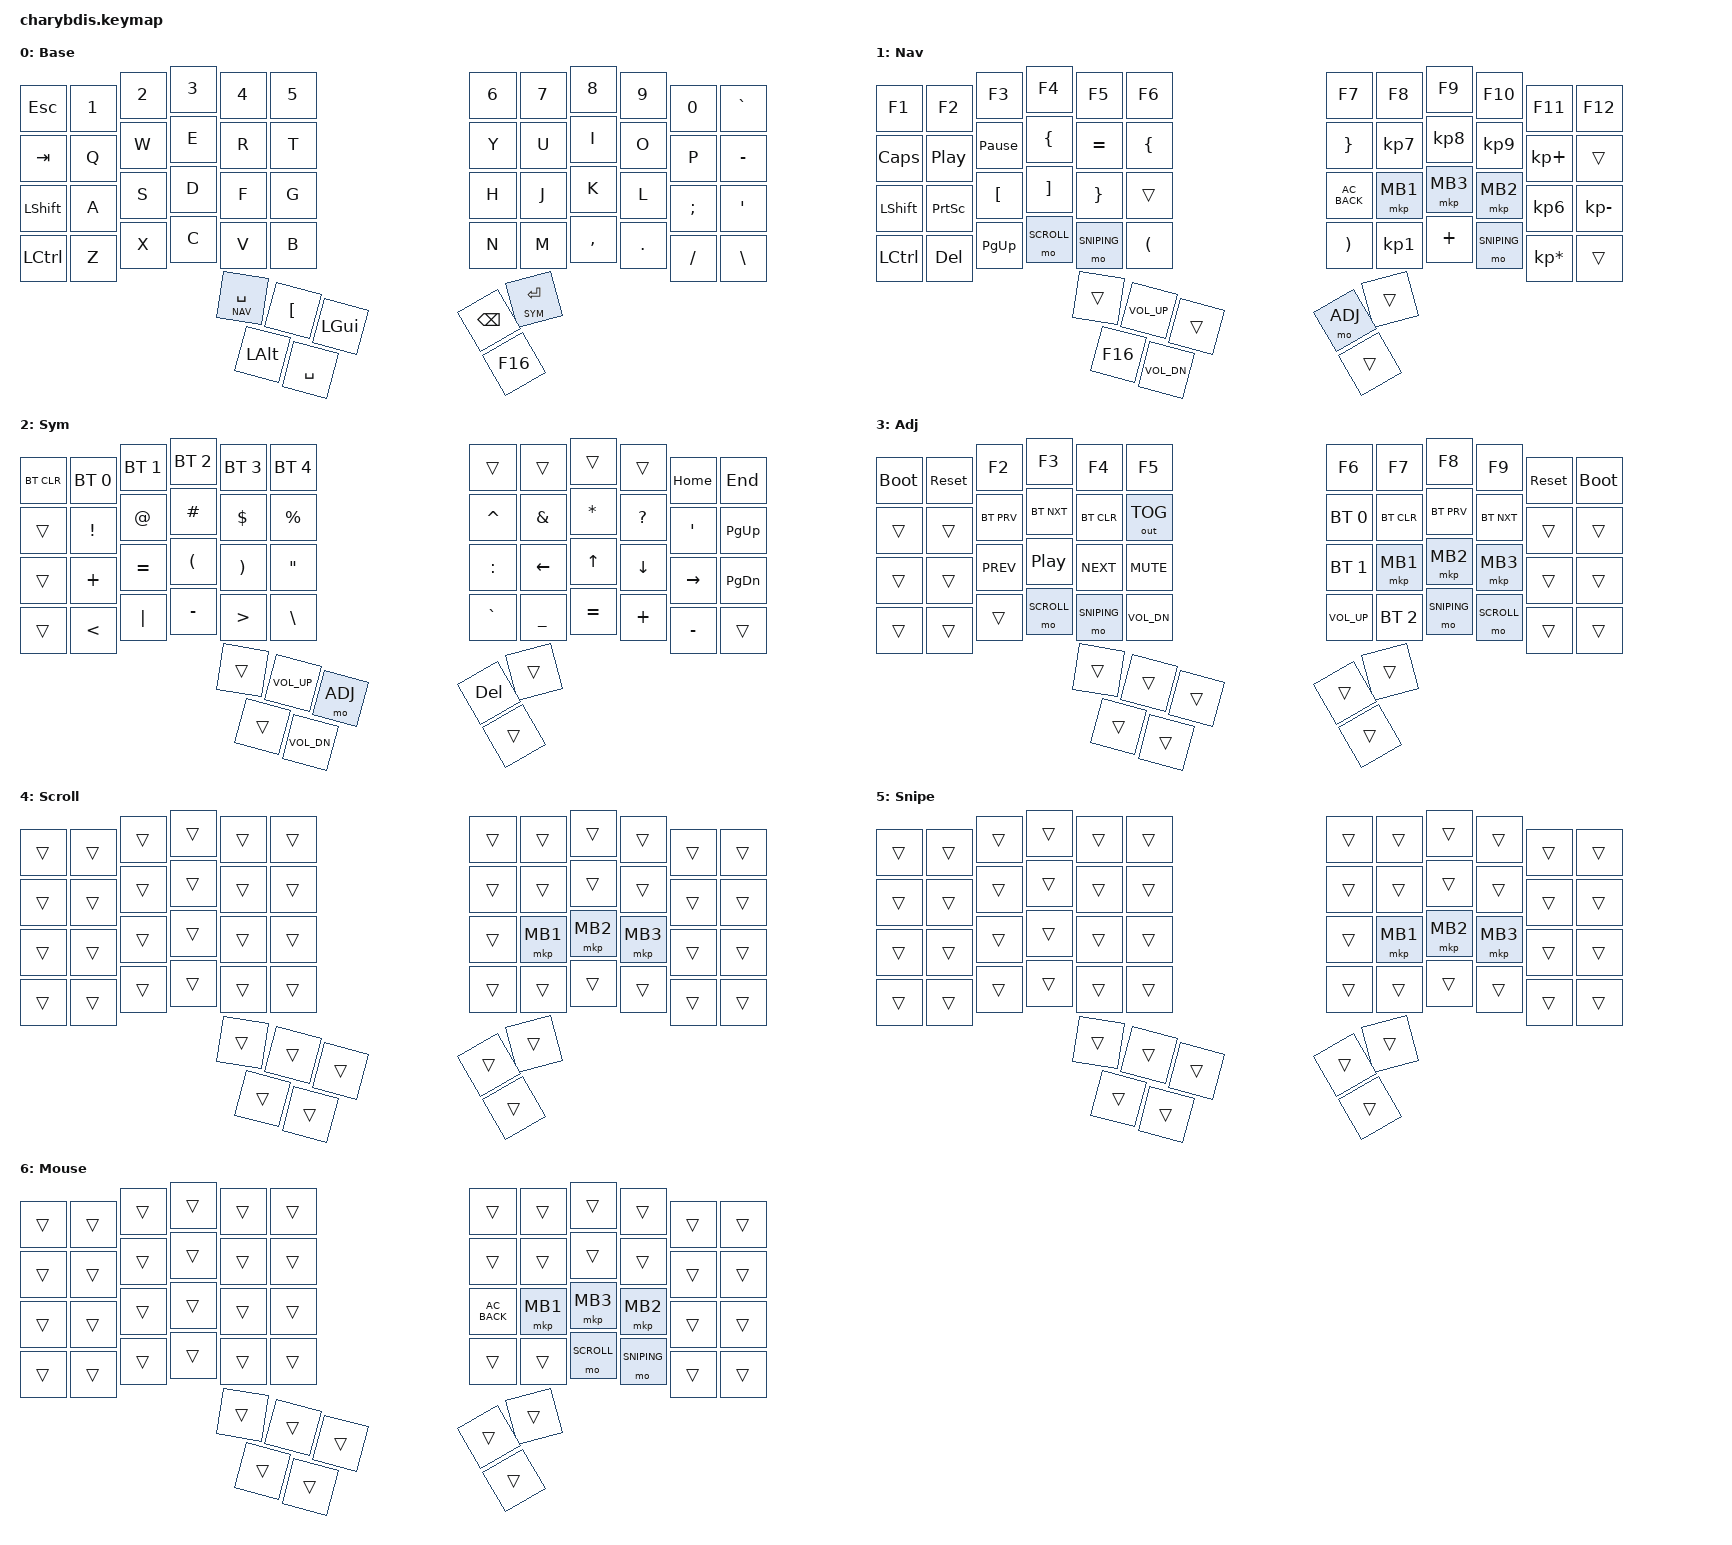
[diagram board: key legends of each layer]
/*
 * MiaoMiao Charybdis 4x6 - ZMK keymap
 *
 * BastardKB QMK `charybdis_4x6` vendor layout, ported to ZMK.
 * Variant: no home-row mods (plain A/S/D/F).
 *
 * Layers:
 *   BASE    (0)  QWERTY + numbers + thumb cluster
 *   NAV     (1)  arrows / numpad / F-keys / paging  (held: left-thumb 1)
 *   SYM     (2)  symbols / brackets / F-keys / media (held: right-thumb 3)
 *   ADJ     (3)  Bluetooth, output, bootloader, mouse buttons, sniping/scroll toggles
 *                Activated by holding NAV + SYM together (tri-layer).
 *   SCROLL  (4)  Trackball acts as scroll wheel (momentary, from ADJ)
 *   SNIPING (5)  Trackball moves at 1/3 speed (momentary, from ADJ)
 *
 * Hardware: nice!nano v2 split, PMW3610 trackball on right.
 */

#include <behaviors.dtsi>
#include <dt-bindings/zmk/keys.h>
#include <dt-bindings/zmk/bt.h>
#include <dt-bindings/zmk/outputs.h>
#include <dt-bindings/zmk/pointing.h>
#include <dt-bindings/zmk/mouse.h>

// Layer indices must match boards/shields/charybdis/charybdis_layers.h
#define BASE    0
#define NAV     1
#define SYM     2
#define ADJ     3
#define SCROLL  4
#define SNIPING 5
#define MOUSE   6

&lt {
    flavor = "tap-preferred";
    tapping-term-ms = <200>;
    quick-tap-ms = <150>;
};

/ {
    conditional_layers {
        compatible = "zmk,conditional-layers";
        tri_layer {
            if-layers = <NAV SYM>;
            then-layer = <ADJ>;
        };
    };

    combos {
        compatible = "zmk,combos";

        // Hold all three right-thumb keys (positions 53, 54, 55) to unlock ZMK Studio.
        combo_studio_unlock {
            timeout-ms = <50>;
            key-positions = <53 54 55>;
            bindings = <&studio_unlock>;
        };
    };

    keymap {
        compatible = "zmk,keymap";

// Key positions (56 total):
// ╭─────┬─────┬─────┬─────┬─────┬─────╮       ╭─────┬─────┬─────┬─────┬─────┬─────╮
//   0     1     2     3     4     5             6     7     8     9    10    11
// ├─────┼─────┼─────┼─────┼─────┼─────┤       ├─────┼─────┼─────┼─────┼─────┼─────┤
//  12    13    14    15    16    17            18    19    20    21    22    23
// ├─────┼─────┼─────┼─────┼─────┼─────┤       ├─────┼─────┼─────┼─────┼─────┼─────┤
//  24    25    26    27    28    29            30    31    32    33    34    35
// ├─────┼─────┼─────┼─────┼─────┼─────┤       ├─────┼─────┼─────┼─────┼─────┼─────┤
//  36    37    38    39    40    41            42    43    44    45    46    47
// ╰─────┴─────┴─────┴─────┴─────┴─────╯       ╰─────┴─────┴─────┴─────┴─────┴─────╯
//             ╭─────┬─────┬─────┬─────┬─────╮       ╭─────┬─────┬─────╮
//              48    49    50    51    52              53    54    55
//             ╰─────┴─────┴─────┴─────┴─────╯       ╰─────┴─────┴─────╯
//
// Right thumbs 53/54/55 = ENTER / SPACE / (BSPC,SYM)  -> the Studio-unlock combo.
// Left thumb 48 = (TAB,NAV) activates the NAV layer when held.

        base_layer {
            label = "BASE";
            display-name = "Base";
            bindings = <
&kp ESC     &kp N1   &kp N2   &kp N3   &kp N4    &kp N5         &kp N6   &kp N7    &kp N8     &kp N9    &kp N0    &kp GRAVE
&kp TAB     &kp Q    &kp W    &kp E    &kp R     &kp T          &kp Y    &kp U     &kp I      &kp O     &kp P     &kp MINUS
&kp LSHFT   &kp A    &kp S    &kp D    &kp F     &kp G          &kp H    &kp J     &kp K      &kp L     &kp SEMI  &kp SQT
&kp LCTRL   &kp Z    &kp X    &kp C    &kp V     &kp B          &kp N    &kp M     &kp COMMA  &kp DOT   &kp FSLH  &kp BSLH
                 &kp LGUI  &kp SPACE  &lt NAV SPACE  &kp LBKT  &kp LALT    &kp F16  &lt SYM RET  &kp BSPC
            >;
        };

        nav_layer {
            label = "NAV";
            display-name = "Nav";
            bindings = <
&kp F1    &kp F2         &kp F3          &kp F4      &kp F5       &kp F6         &kp F7    &kp F8         &kp F9    &kp F10   &kp F11        &kp F12
&kp CAPS  &kp C_PLAY_PAUSE &kp PAUSE_BREAK &kp LBRC  &kp EQUAL    &kp LBRC       &kp RBRC  &kp KP_N7      &kp KP_N8 &kp KP_N9 &kp KP_PLUS    &trans
&kp LSHFT &kp PSCRN      &kp LBKT        &kp RBKT    &kp RBRC     &trans         &kp C_AC_BACK &mkp MB1       &mkp MB3  &mkp MB2  &kp KP_N6      &kp KP_MINUS
&kp LCTRL &kp DEL        &kp PG_UP       &mo SCROLL  &mo SNIPING  &kp LPAR       &kp RPAR  &kp KP_N1      &kp PLUS   &mo SNIPING &kp KP_MULTIPLY &trans
                    &trans   &kp C_VOL_DN   &trans         &kp C_VOL_UP &kp F16        &trans     &trans       &mo ADJ
            >;
        };

        sym_layer {
            label = "SYM";
            display-name = "Sym";
            bindings = <
&bt BT_CLR &bt BT_SEL 0 &bt BT_SEL 1 &bt BT_SEL 2 &bt BT_SEL 3 &bt BT_SEL 4      &trans     &trans    &trans    &trans    &kp HOME   &kp END
&trans    &kp EXCL  &kp AT    &kp HASH  &kp DLLR   &kp PRCNT         &kp CARET  &kp AMPS  &kp ASTRK &kp QMARK &kp SQT    &kp PG_UP
&trans    &kp PLUS  &kp EQUAL &kp LPAR  &kp RPAR   &kp DQT           &kp COLON  &kp LEFT  &kp UP    &kp DOWN  &kp RIGHT  &kp PG_DN
&trans    &kp LT    &kp PIPE  &kp MINUS &kp GT     &kp BSLH          &kp GRAVE  &kp UNDER &kp EQUAL &kp PLUS  &kp MINUS  &trans
                    &mo ADJ   &kp C_VOL_DN &trans       &kp C_VOL_UP    &trans     &trans     &trans &kp DEL
            >;
        };

        adj_layer {
            label = "ADJ";
            display-name = "Adj";
            bindings = <
&bootloader    &sys_reset     &kp F2       &kp F3       &kp F4       &kp F5            &kp F6        &kp F7        &kp F8        &kp F9      &sys_reset     &bootloader
&trans         &trans         &bt BT_PRV   &bt BT_NXT   &bt BT_CLR   &out OUT_TOG      &bt BT_SEL 0  &bt BT_CLR    &bt BT_PRV    &bt BT_NXT  &trans         &trans
&trans         &trans         &kp C_PREV   &kp C_PP     &kp C_NEXT   &kp C_MUTE        &bt BT_SEL 1  &mkp MB1      &mkp MB2      &mkp MB3    &trans         &trans
&trans         &trans         &trans       &mo SCROLL   &mo SNIPING  &kp C_VOL_DN      &kp C_VOL_UP  &bt BT_SEL 2  &mo SNIPING   &mo SCROLL  &trans         &trans
                       &trans   &trans   &trans   &trans   &trans              &trans   &trans   &trans
            >;
        };

        scroll_layer {
            label = "SCROLL";
            display-name = "Scroll";
            // Stub layer: trackball is reinterpreted as a scroll wheel via
            // boards/shields/charybdis/charybdis_trackball_processors.dtsi.
            bindings = <
&trans  &trans  &trans  &trans  &trans  &trans    &trans  &trans  &trans  &trans  &trans  &trans
&trans  &trans  &trans  &trans  &trans  &trans    &trans  &trans  &trans  &trans  &trans  &trans
&trans  &trans  &trans  &trans  &trans  &trans    &trans  &mkp MB1 &mkp MB2 &mkp MB3 &trans &trans
&trans  &trans  &trans  &trans  &trans  &trans    &trans  &trans  &trans  &trans  &trans  &trans
                &trans  &trans  &trans  &trans  &trans    &trans  &trans  &trans
            >;
        };

        sniping_layer {
            label = "SNIP";
            display-name = "Snipe";
            // Stub layer: trackball runs at 1/3 speed via the input processors.
            bindings = <
&trans  &trans  &trans  &trans  &trans  &trans    &trans  &trans  &trans  &trans  &trans  &trans
&trans  &trans  &trans  &trans  &trans  &trans    &trans  &trans  &trans  &trans  &trans  &trans
&trans  &trans  &trans  &trans  &trans  &trans    &trans  &mkp MB1 &mkp MB2 &mkp MB3 &trans &trans
&trans  &trans  &trans  &trans  &trans  &trans    &trans  &trans  &trans  &trans  &trans  &trans
                &trans  &trans  &trans  &trans  &trans    &trans  &trans  &trans
            >;
        };

        mouse_layer {
            label = "MOUSE";
            display-name = "Mouse";
            bindings = <
&trans  &trans  &trans  &trans  &trans  &trans    &trans  &trans  &trans  &trans  &trans  &trans
&trans  &trans  &trans  &trans  &trans  &trans    &trans  &trans  &trans  &trans  &trans  &trans
&trans  &trans  &trans  &trans  &trans  &trans    &kp C_AC_BACK &mkp MB1 &mkp MB3 &mkp MB2 &trans &trans
&trans  &trans  &trans  &trans &trans &trans    &trans  &trans  &mo SCROLL &mo SNIPING &trans &trans
                &trans  &trans  &trans  &trans  &trans    &trans  &trans  &trans
            >;
        };
    };
};
